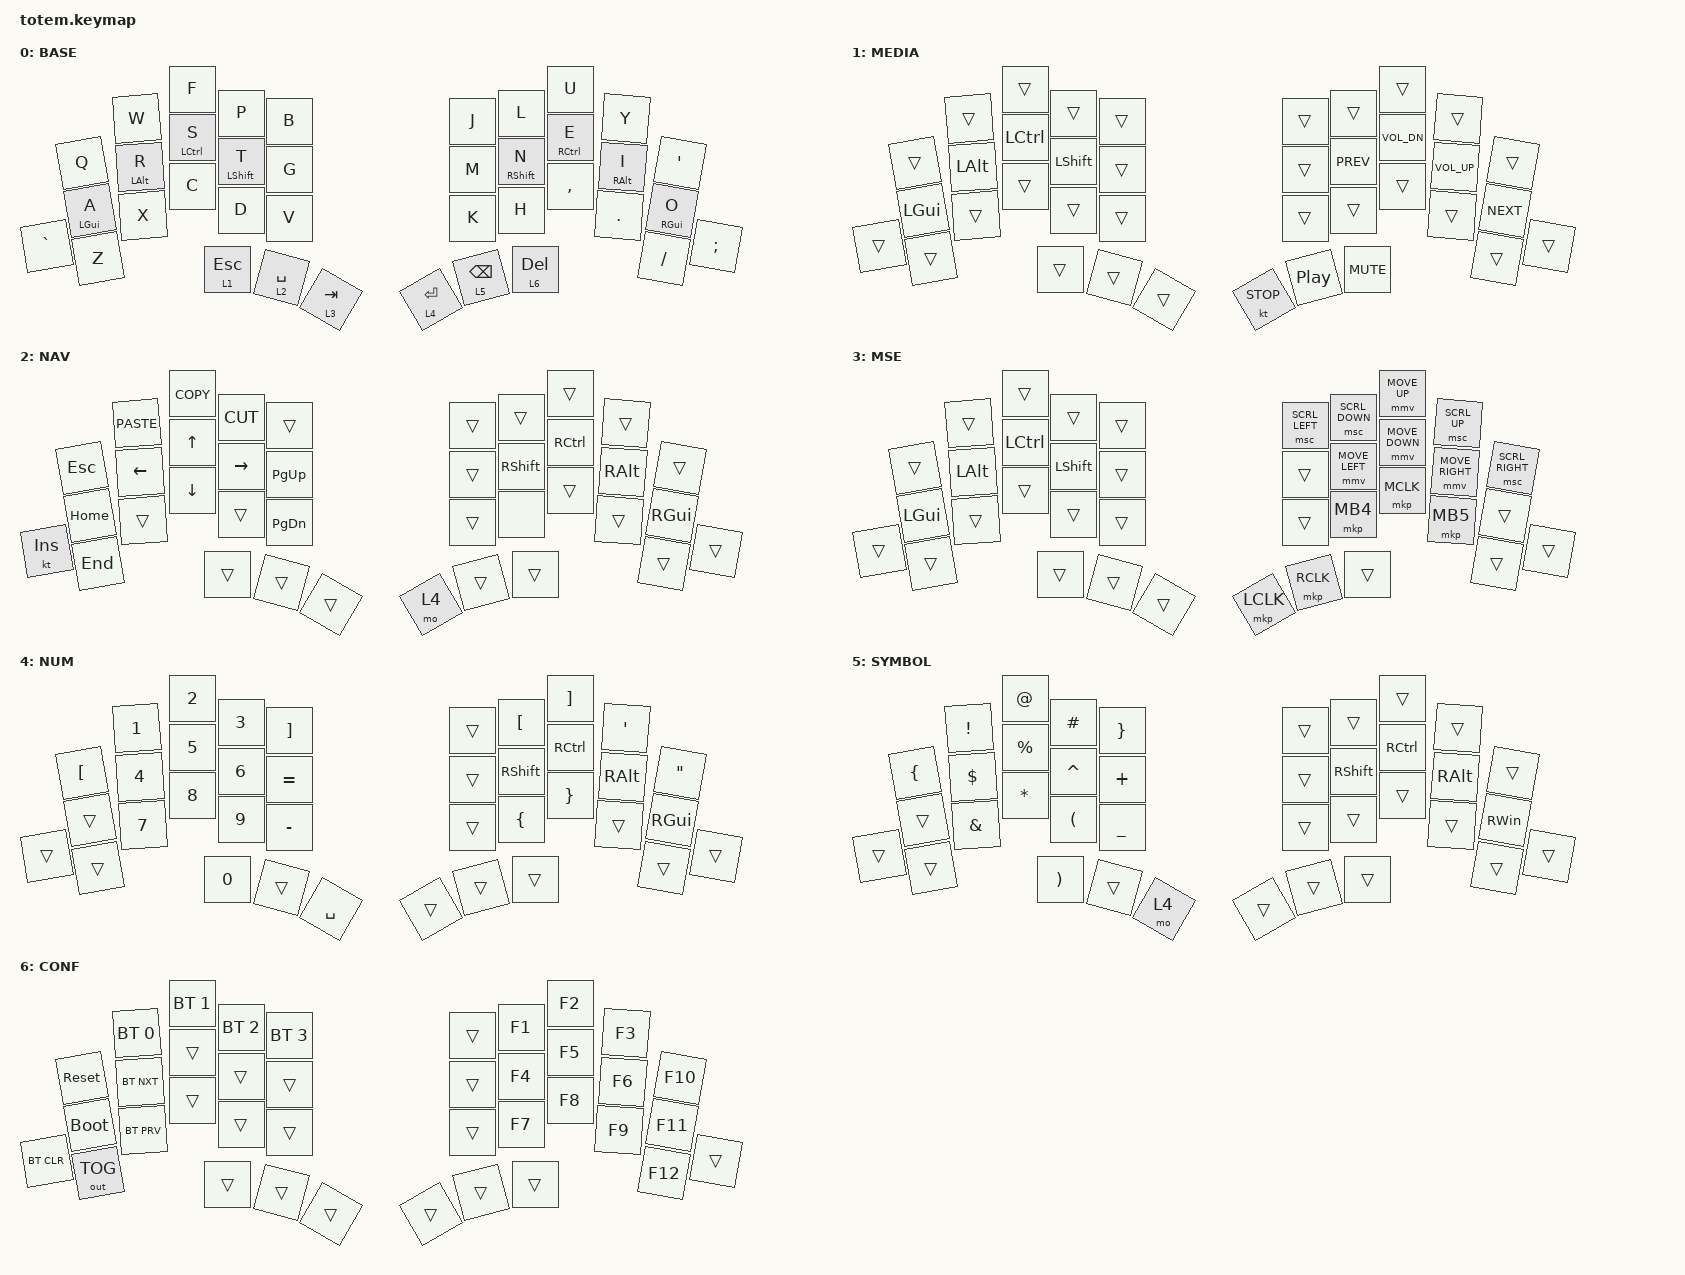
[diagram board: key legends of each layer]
//
//                                                        ▀▀▀▀▀     ▀▀▀▀▀          ▀▀█▀▀
//                                                        ▄▀▀▀▄  ▄  ▄▀▀▀▄  ▄  ▄▀▀▀▄  █  ▄▀▀▀▄
//                                                        █   █  █  █   █  █  █   █  █  █   █
//                                                         ▀▀▀   █   ▀▀▀   █   ▀▀▀   ▀   ▀▀▀
//                                                               █      ▄▄▄█▄▄▄    █   █  
//                                                               ▀      █  █  █     █▄█
//                                                             ▀▀▀▀▀    █  █  █      ▀
//                                                                      ▀  ▀  ▀
//
// ▄▄▄▄▄▄▄▄▄▄▄▄▄▄▄▄▄▄▄▄▄▄▄▄▄▄▄▄▄▄▄▄▄▄▄▄▄▄▄▄▄▄▄▄▄▄▄▄▄▄▄▄▄▄▄▄▄▄▄▄▄▄▄▄▄▄▄▄▄▄▄▄▄▄▄▄▄▄▄▄▄▄▄▄▄▄▄▄▄▄▄▄▄▄▄▄▄▄▄▄▄▄▄▄▄▄▄▄▄▄▄▄▄▄▄▄▄▄▄▄▄▄▄▄▄▄▄▄▄▄▄▄▄▄▄▄▄▄▄▄▄▄▄▄▄▄▄▄▄





#include <behaviors.dtsi>
#include <dt-bindings/zmk/bt.h>
#include <dt-bindings/zmk/keys.h>
#include <dt-bindings/zmk/keys.h>
#include <dt-bindings/zmk/outputs.h>
#include <dt-bindings/zmk/pointing.h>

#define ZMK_MOUSE_DEFAULT_MOVE_VAL 1800  // 600
#define ZMK_MOUSE_DEFAULT_SCRL_VAL 30    // 10


&mmv {
    x-input-code = <INPUT_REL_X>;
    y-input-code = <INPUT_REL_Y>;
    time-to-max-speed-ms = <500>;
    acceleration-exponent = <1>;
};

&msc {
    x-input-code = <INPUT_REL_HWHEEL>;
    y-input-code = <INPUT_REL_WHEEL>;
    time-to-max-speed-ms = <0>;
    acceleration-exponent = <1>;
};

&mt {
    quick-tap-ms = <200>;
    flavor = "tap-preferred";
    tapping-term-ms = <300>;
};

/ {
    combos {
        compatible = "zmk,combos";

        left_bracket {
            bindings = <&kp LEFT_BRACKET>;
            key-positions = <3 13>;
        };

        right_bracket {
            bindings = <&kp RIGHT_BRACKET>;
            key-positions = <6 16>;
        };

        right_brace {
            bindings = <&kp RIGHT_BRACE>;
            key-positions = <6 7>;
        };

        left_brace {
            bindings = <&kp LEFT_BRACE>;
            key-positions = <2 3>;
        };

        left_parenthesis {
            bindings = <&kp LEFT_PARENTHESIS>;
            key-positions = <2 12>;
        };

        right_parenthesis {
            bindings = <&kp RIGHT_PARENTHESIS>;
            key-positions = <7 17>;
        };
    };

    keymap {
        compatible = "zmk,keymap";

        // ▄▄▄▄▄▄▄▄▄▄▄▄▄▄▄▄▄▄▄▄▄▄▄▄▄▄▄▄▄▄▄▄▄▄▄▄▄▄▄▄▄▄▄▄▄▄▄▄▄▄▄▄▄▄▄▄▄▄▄▄▄▄▄▄▄▄▄▄▄▄▄▄▄▄▄▄▄▄▄▄▄▄▄▄▄▄▄▄▄▄▄▄▄▄▄▄▄▄▄▄▄▄▄▄▄▄▄▄▄▄▄▄▄▄▄▄▄▄▄▄▄▄▄▄▄▄▄▄▄▄▄▄▄▄▄▄▄▄▄▄▄▄▄▄▄▄▄▄▄

        base_layer {
            bindings = <
           &kp Q       &kp W       &kp F        &kp P        &kp B        &kp J        &kp L            &kp U        &kp Y       &kp APOSTROPHE
           &mt LGUI A  &mt LALT R  &mt LCTRL S  &mt LSHFT T  &kp G        &kp M        &mt RSHFT N      &mt RCTRL E  &mt RALT I  &mt RGUI O
&kp GRAVE  &kp Z       &kp X       &kp C        &kp D        &kp V        &kp K        &kp H            &kp COMMA    &kp DOT     &kp FSLH        &kp SEMICOLON
                                   &lt 1 ESC    &lt 2 SPACE  &lt 3 TAB    &lt 4 ENTER  &lt 5 BACKSPACE  &lt 6 DEL
            >;

            label = "BASE";
        };

        media_layer {
            bindings = <
        &trans    &trans    &trans     &trans     &trans    &trans      &trans            &trans        &trans        &trans
        &kp LGUI  &kp LALT  &kp LCTRL  &kp LSHFT  &trans    &trans      &kp K_PREV        &kp C_VOL_DN  &kp C_VOL_UP  &kp K_NEXT
&trans  &trans    &trans    &trans     &trans     &trans    &trans      &trans            &trans        &trans        &trans      &trans
                            &trans     &trans     &trans    &kt K_STOP  &kp C_PLAY_PAUSE  &kp K_MUTE
            >;

            label = "MEDIA ";
        };

        nav_layer {
            bindings = <
            &kp ESC   &kp K_PASTE  &kp K_COPY      &kp K_CUT  &trans           &trans  &trans     &trans     &trans    &trans
            &kp HOME  &kp LEFT     &kp UP          &kp RIGHT  &kp PAGE_UP      &trans  &kp RSHFT  &kp RCTRL  &kp RALT  &kp RGUI
&kt INSERT  &kp END   &trans       &kp DOWN_ARROW  &trans     &kp PAGE_DOWN    &trans  &none      &trans     &trans    &trans    &trans
                                   &trans          &trans     &trans           &mo 4   &trans     &trans
            >;

            label = "NAV";
        };

        mouse_layer {
            display-name = "MSE";
            bindings = <
        &trans    &trans    &trans     &trans     &trans    &msc SCRL_LEFT  &msc SCRL_DOWN  &mmv MOVE_UP    &msc SCRL_UP     &msc SCRL_RIGHT
        &kp LGUI  &kp LALT  &kp LCTRL  &kp LSHFT  &trans    &trans          &mmv MOVE_LEFT  &mmv MOVE_DOWN  &mmv MOVE_RIGHT  &trans
&trans  &trans    &trans    &trans     &trans     &trans    &trans          &mkp MB4        &mkp MCLK       &mkp MB5         &trans           &trans
                            &trans     &trans     &trans    &mkp LCLK       &mkp RCLK       &trans
            >;
        };

        num_layer {
            bindings = <
        &kp LEFT_BRACKET  &kp N1  &kp N2  &kp N3  &kp RIGHT_BRACKET    &trans  &kp LBKT        &kp RBKT         &kp SQT   &kp DQT
        &trans            &kp N4  &kp N5  &kp N6  &kp EQUAL            &trans  &kp RSHFT       &kp RCTRL        &kp RALT  &kp RGUI
&trans  &trans            &kp N7  &kp N8  &kp N9  &kp MINUS            &trans  &kp LEFT_BRACE  &kp RIGHT_BRACE  &trans    &trans    &trans
                                  &kp N0  &trans  &kp SPACE            &trans  &trans          &trans
            >;

            label = "NUM";
        };

        sim_layer {
            bindings = <
        &kp LEFT_BRACE  &kp EXCLAMATION  &kp AT_SIGN            &kp HASH              &kp RIGHT_BRACE    &trans  &trans           &trans             &trans         &trans
        &trans          &kp DOLLAR       &kp PERCENT            &kp CARET             &kp PLUS           &trans  &kp RIGHT_SHIFT  &kp RIGHT_CONTROL  &kp RIGHT_ALT  &kp RIGHT_WIN
&trans  &trans          &kp AMPERSAND    &kp ASTERISK           &kp LEFT_PARENTHESIS  &kp UNDER          &trans  &trans           &trans             &trans         &trans         &trans
                                         &kp RIGHT_PARENTHESIS  &trans                &mo 4              &trans  &trans           &trans
            >;

            label = "SYMBOL";
        };

        adjust_layer {
            bindings = <
            &sys_reset    &bt BT_SEL 0  &bt BT_SEL 1  &bt BT_SEL 2  &bt BT_SEL 3    &trans  &kp F1  &kp F2  &kp F3  &kp F10
            &bootloader   &bt BT_NXT    &trans        &trans        &trans          &trans  &kp F4  &kp F5  &kp F6  &kp F11
&bt BT_CLR  &out OUT_TOG  &bt BT_PRV    &trans        &trans        &trans          &trans  &kp F7  &kp F8  &kp F9  &kp F12  &trans
                                        &trans        &trans        &trans          &trans  &trans  &trans
            >;

            label = "CONF";
        };
    };
};
